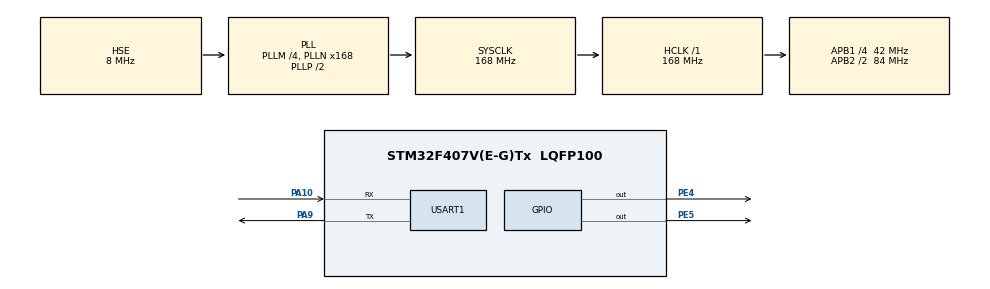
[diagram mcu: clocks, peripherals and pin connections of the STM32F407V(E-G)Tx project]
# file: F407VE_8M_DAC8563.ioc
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Mcu.Family=STM32F4
Mcu.Name=STM32F407V(E-G)Tx
Mcu.Package=LQFP100
NVIC.PriorityGroup=NVIC_PRIORITYGROUP_4
NVIC.USART1_IRQn=true\:0\:0\:false\:false\:true\:true\:true
PA10.Mode=Asynchronous
PA10.Signal=USART1_RX
PA13.Mode=Serial_Wire
PA13.Signal=SYS_JTMS-SWDIO
PA14.Mode=Serial_Wire
PA14.Signal=SYS_JTCK-SWCLK
PA9.Mode=Asynchronous
PA9.Signal=USART1_TX
PC14-OSC32_IN.Mode=LSE-External-Oscillator
PC14-OSC32_IN.Signal=RCC_OSC32_IN
PC15-OSC32_OUT.Mode=LSE-External-Oscillator
PC15-OSC32_OUT.Signal=RCC_OSC32_OUT
PE4.GPIO_ModeDefaultOutputPP=GPIO_MODE_OUTPUT_PP
PE4.GPIO_PuPd=GPIO_PULLUP
PE4.GPIO_Speed=GPIO_SPEED_FREQ_VERY_HIGH
PE4.PinState=GPIO_PIN_SET
PE4.Signal=GPIO_Output
PE5.GPIO_ModeDefaultOutputPP=GPIO_MODE_OUTPUT_PP
PE5.GPIO_PuPd=GPIO_PULLUP
PE5.GPIO_Speed=GPIO_SPEED_FREQ_VERY_HIGH
PE5.PinState=GPIO_PIN_SET
PE5.Signal=GPIO_Output
PH0-OSC_IN.Mode=HSE-External-Oscillator
PH0-OSC_IN.Signal=RCC_OSC_IN
PH1-OSC_OUT.Mode=HSE-External-Oscillator
PH1-OSC_OUT.Signal=RCC_OSC_OUT
ProjectManager.HeapSize=0x200
ProjectManager.StackSize=0x400
ProjectManager.TargetToolchain=MDK-ARM V5.27
RCC.48MHZClocksFreq_Value=84000000
RCC.AHBFreq_Value=168000000
RCC.APB1CLKDivider=RCC_HCLK_DIV4
RCC.APB1Freq_Value=42000000
RCC.APB1TimFreq_Value=84000000
RCC.APB2CLKDivider=RCC_HCLK_DIV2
RCC.APB2Freq_Value=84000000
RCC.APB2TimFreq_Value=168000000
RCC.CortexFreq_Value=168000000
RCC.HCLKFreq_Value=168000000
RCC.HSE_VALUE=8000000
RCC.HSI_VALUE=16000000
RCC.PLLM=4
RCC.PLLN=168
RCC.PLLSourceVirtual=RCC_PLLSOURCE_HSE
RCC.SYSCLKFreq_VALUE=168000000
RCC.SYSCLKSource=RCC_SYSCLKSOURCE_PLLCLK
RCC.VCOOutputFreq_Value=336000000
USART1.VirtualMode=VM_ASYNC
VP_TIM9_VS_ClockSourceINT.Mode=Internal
board=custom

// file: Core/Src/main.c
/* USER CODE BEGIN Header */
/**
  ******************************************************************************
  * @file           : main.c
  * @brief          : Main program body
  ******************************************************************************
  * @attention
  *
  * <h2><center>&copy; Copyright (c) 2021 STMicroelectronics.
  * All rights reserved.</center></h2>
  *
  * This software component is licensed by ST under BSD 3-Clause license,
  * the "License"; You may not use this file except in compliance with the
  * License. You may obtain a copy of the License at:
  *                        opensource.org/licenses/BSD-3-Clause
  *
  ******************************************************************************
  */
/* USER CODE END Header */
#include "main.h"
#include "tim.h"
#include "usart.h"
#include "gpio.h"

/* USER CODE BEGIN Includes */
#include "DAC8563/dac8563.h"
#include "Timer/timer.h"
/* USER CODE END Includes */

/* USER CODE BEGIN PV */
MyUARTHandle uart1;
uint8_t uartBuf1[100];
/* USER CODE END PV */

void SystemClock_Config(void);

int main(void)
{
  /* USER CODE BEGIN 1 */
  uint16_t val = 0;
  uint64_t ticks;
  /* USER CODE END 1 */

  /* MCU Configuration--------------------------------------------------------*/

  /* Reset of all peripherals, Initializes the Flash interface and the Systick. */
  HAL_Init();

  /* Configure the system clock */
  SystemClock_Config();

  /* Initialize all configured peripherals */
  MX_GPIO_Init();
  MX_USART1_UART_Init();
  MX_TIM9_Init();
  /* USER CODE BEGIN 2 */
  Delay_Init(168);
  MyUART_Init(&uart1, USART1, uartBuf1, 100);
  DAC8563_Init();
  Timer_Init();
  MyUART_WriteLine(&uart1, "DAC8563 Test");
  Delay_ms(1000);
  Timer_Start();
  DAC8563_SetOutput(1, val);
  ticks = Timer_Stop();
  printf("Set Channel A: %f\r\n", ticks / 168.0);
  Timer_Start();
  DAC8563_SetOutput(0, val);
  ticks = Timer_Stop();
  printf("Set Channel B: %f\r\n", ticks / 168.0);
  Timer_Start();
  DAC8563_SetOutputAB(val, val);
  ticks = Timer_Stop();
  printf("Set Channel A&B: %f\r\n", ticks / 168.0);
  /* USER CODE END 2 */

  /* Infinite loop */
  while (1)
  {

    /* USER CODE BEGIN 3 */
    Delay_ms(100);
    val+=500;
    Timer_Start();
    DAC8563_SetOutput(0, val);
    ticks = Timer_Stop();
  }
  /* USER CODE END 3 */
}

void SystemClock_Config(void)
{
  RCC_OscInitTypeDef RCC_OscInitStruct = {0};
  RCC_ClkInitTypeDef RCC_ClkInitStruct = {0};

  /** Configure the main internal regulator output voltage
  */
  __HAL_RCC_PWR_CLK_ENABLE();
  __HAL_PWR_VOLTAGESCALING_CONFIG(PWR_REGULATOR_VOLTAGE_SCALE1);
  /** Initializes the RCC Oscillators according to the specified parameters
  * in the RCC_OscInitTypeDef structure.
  */
  RCC_OscInitStruct.OscillatorType = RCC_OSCILLATORTYPE_HSE;
  RCC_OscInitStruct.HSEState = RCC_HSE_ON;
  RCC_OscInitStruct.PLL.PLLState = RCC_PLL_ON;
  RCC_OscInitStruct.PLL.PLLSource = RCC_PLLSOURCE_HSE;
  RCC_OscInitStruct.PLL.PLLM = 4;
  RCC_OscInitStruct.PLL.PLLN = 168;
  RCC_OscInitStruct.PLL.PLLP = RCC_PLLP_DIV2;
  RCC_OscInitStruct.PLL.PLLQ = 4;
  if (HAL_RCC_OscConfig(&RCC_OscInitStruct) != HAL_OK)
  {
    Error_Handler();
  }
  /** Initializes the CPU, AHB and APB buses clocks
  */
  RCC_ClkInitStruct.ClockType = RCC_CLOCKTYPE_HCLK|RCC_CLOCKTYPE_SYSCLK
                              |RCC_CLOCKTYPE_PCLK1|RCC_CLOCKTYPE_PCLK2;
  RCC_ClkInitStruct.SYSCLKSource = RCC_SYSCLKSOURCE_PLLCLK;
  RCC_ClkInitStruct.AHBCLKDivider = RCC_SYSCLK_DIV1;
  RCC_ClkInitStruct.APB1CLKDivider = RCC_HCLK_DIV4;
  RCC_ClkInitStruct.APB2CLKDivider = RCC_HCLK_DIV2;

  if (HAL_RCC_ClockConfig(&RCC_ClkInitStruct, FLASH_LATENCY_5) != HAL_OK)
  {
    Error_Handler();
  }
}

void Error_Handler(void)
{
  __disable_irq();
  while (1)
  {
  }
}

/************************ (C) COPYRIGHT STMicroelectronics *****END OF FILE****/
